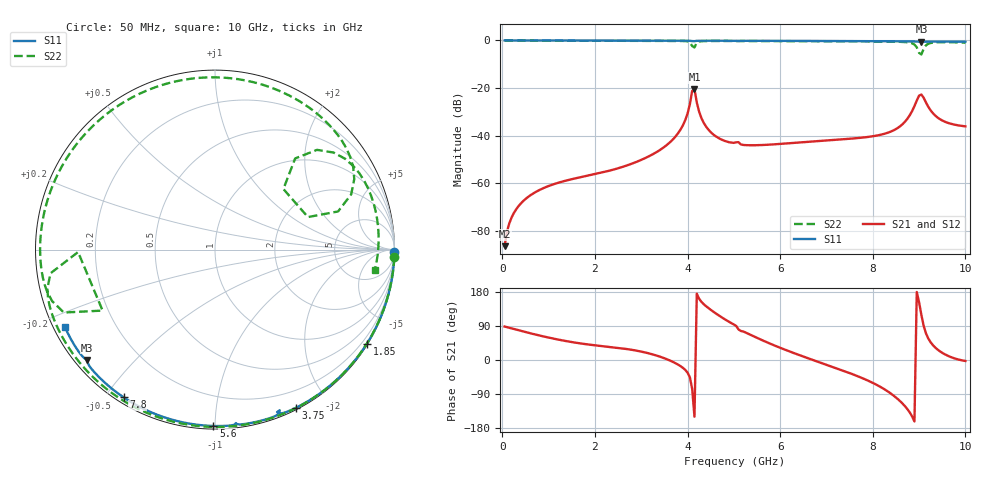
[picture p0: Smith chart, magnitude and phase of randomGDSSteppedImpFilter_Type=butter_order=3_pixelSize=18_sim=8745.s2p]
! freq	dB(S11)	phase(S11)	dB(S12)	phase(S12)
!  dB(S21)	phase(S21)	dB(S22)	phase(S22)
!S-par simulation data
#  GHz  S  DB  R 50
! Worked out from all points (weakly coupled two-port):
!   200 points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, 50 MHz to 10 GHz, reference 50 ohm
!   highest |S21| = -20.44 dB at 4.15 GHz (marker M1); lowest = -86.4 dB at 50 MHz (marker M2)
!   lowest |S11| = -0.5 dB at 9.05 GHz (marker M3), VSWR 32.46, Z = 1.75 - j18.6 ohm
!   |S11| at or under -10 dB: nowhere
!   |S22| runs from -5.9 to 0.0 dB; largest |S21 - S12| = 0
!   S11 on the Smith chart (normalised r, x): 50 MHz: open; 1.85 GHz: 0.03, -3.51; 3.75 GHz: 0.02, -1.64; 5.6 GHz: 0.02, -0.99; 7.8 GHz: 0.02, -0.56; 10 GHz: 0.03, -0.24
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0.05  -0.00 -0.9  -86.38 88.3  -86.38 88.3  -0.00 -2.4
0.6  -0.01 -10.4  -65.10 70.7  -65.10 70.7  -0.04 -28.8
1.75  -0.04 -30.1  -57.17 42.6  -57.17 42.6  -0.09 -80.0
1.85  -0.04 -31.8  -56.75 41.0  -56.75 41.0  -0.10 -84.2
3.4  -0.08 -57.2  -46.05 9.0  -46.05 9.0  -0.16 -142.2
3.75  -0.09 -62.8  -40.11 -9.0  -40.11 -9.0  -0.19 -154.9
3.95  -0.10 -66.2  -33.49 -26.1  -33.49 -26.1  -0.27 -163.7
4.1  -0.27 -69.1  -21.18 -76.1  -21.18 -76.1  -2.35 -179.0
4.15  -0.31 -68.1  -20.44 -149.7  -20.44 -149.7  -2.94 -151.5
4.25  -0.12 -69.9  -29.90 161.6  -29.90 161.6  -0.43 -162.5
4.45  -0.11 -73.3  -37.41 137.1  -37.41 137.1  -0.24 -172.6
5.05  -0.18 -82.8  -42.76 90.0  -42.76 90.0  -0.23 166.9
5.6  -0.15 -90.5  -43.92 52.9  -43.92 52.9  -0.26 149.3
6.7  -0.21 -106.4  -42.41 0.4  -42.41 0.4  -0.32 113.7
7.8  -0.28 -121.8  -40.74 -49.2  -40.74 -49.2  -0.39 75.4
8.35  -0.33 -129.4  -38.57 -85.0  -38.57 -85.0  -0.47 54.2
8.85  -0.40 -136.7  -29.63 -149.0  -29.63 -149.0  -1.21 26.9
9  -0.51 -138.8  -23.18 152.5  -23.18 152.5  -5.21 19.3
9.05  -0.54 -139.1  -22.70 118.7  -22.70 118.7  -5.87 41.5
9.2  -0.47 -140.9  -27.89 56.5  -27.89 56.5  -1.37 39.3
9.5  -0.47 -145.4  -33.60 18.9  -33.60 18.9  -0.72 19.2
10  -0.53 -152.8  -36.06 -2.6  -36.06 -2.6  -0.94 -7.4
